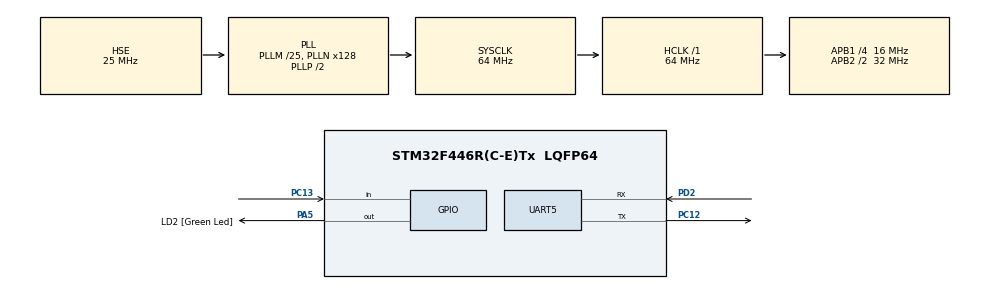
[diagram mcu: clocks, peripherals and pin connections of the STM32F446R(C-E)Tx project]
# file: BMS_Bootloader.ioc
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Mcu.Family=STM32F4
Mcu.Name=STM32F446R(C-E)Tx
Mcu.Package=LQFP64
NVIC.PriorityGroup=NVIC_PRIORITYGROUP_0
PA13.GPIO_Label=TMS
PA13.Signal=SYS_JTMS-SWDIO
PA14.GPIO_Label=TCK
PA14.Signal=SYS_JTCK-SWCLK
PA5.GPIO_Label=LD2 [Green Led]
PA5.Signal=GPIO_Output
PB3.GPIO_Label=SWO
PB3.Signal=SYS_JTDO-SWO
PC12.Mode=Asynchronous
PC12.Signal=UART5_TX
PC13.Signal=GPIO_Input
PC14-OSC32_IN.Signal=RCC_OSC32_IN
PC15-OSC32_OUT.Signal=RCC_OSC32_OUT
PD2.Mode=Asynchronous
PD2.Signal=UART5_RX
PH0-OSC_IN.Mode=HSE-External-Oscillator
PH0-OSC_IN.Signal=RCC_OSC_IN
PH1-OSC_OUT.Mode=HSE-External-Oscillator
PH1-OSC_OUT.Signal=RCC_OSC_OUT
ProjectManager.HeapSize=0x200
ProjectManager.StackSize=0x400
ProjectManager.TargetToolchain=STM32CubeIDE
RCC.AHBFreq_Value=64000000
RCC.APB1CLKDivider=RCC_HCLK_DIV4
RCC.APB1Freq_Value=16000000
RCC.APB1TimFreq_Value=32000000
RCC.APB2CLKDivider=RCC_HCLK_DIV2
RCC.APB2Freq_Value=32000000
RCC.APB2TimFreq_Value=64000000
RCC.CortexFreq_Value=64000000
RCC.FLatency-AdvancedSettings=FLASH_LATENCY_2
RCC.HCLKFreq_Value=64000000
RCC.HSE_VALUE=25000000
RCC.HSI_VALUE=16000000
RCC.LSE_VALUE=32768
RCC.PLLM=25
RCC.PLLN=128
RCC.PLLSourceVirtual=RCC_PLLSOURCE_HSE
RCC.SYSCLKFreq_VALUE=64000000
RCC.SYSCLKSource=RCC_SYSCLKSOURCE_PLLCLK
RCC.USBFreq_Value=64000000
RCC.VCOOutputFreq_Value=128000000
UART5.VirtualMode=Asynchronous
VP_CRC_VS_CRC.Mode=CRC_Activate
VP_RTC_VS_RTC_Activate.Mode=RTC_Enabled
VP_RTC_VS_RTC_Calendar.Mode=RTC_Calendar
board=NUCLEO-F446RE

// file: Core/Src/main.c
/* USER CODE BEGIN Header */
/**
  ******************************************************************************
  * @file           : main.c
  * @brief          : Main program body
  ******************************************************************************
  * @attention
  *
  * Copyright (c) 2024 STMicroelectronics.
  * All rights reserved.
  *
  * This software is licensed under terms that can be found in the LICENSE file
  * in the root directory of this software component.
  * If no LICENSE file comes with this software, it is provided AS-IS.
  *
  ******************************************************************************
  */
/* USER CODE END Header */
#include "main.h"

/* USER CODE BEGIN Includes */
#include <stdio.h>
#include <string.h>
#include "ota_update.h"
/* USER CODE END Includes */

/* USER CODE BEGIN PM */
#define MAX_BUF_SIZE 512
#define OTA_RESPONSE_PACKET_SIZE 12

/* USER CODE END PM */

CRC_HandleTypeDef hcrc;

RTC_HandleTypeDef hrtc;

UART_HandleTypeDef huart5;

void SystemClock_Config(void);
static void MX_GPIO_Init(void);
static void MX_UART5_Init(void);
static void MX_RTC_Init(void);
static void MX_CRC_Init(void);
/* USER CODE BEGIN PFP */
static void goto_application(void);
/* USER CODE END PFP */

int main(void)
{

  /* MCU Configuration--------------------------------------------------------*/

  /* Reset of all peripherals, Initializes the Flash interface and the Systick. */
  HAL_Init();

  /* Configure the system clock */
  SystemClock_Config();

  /* Initialize all configured peripherals */
  MX_GPIO_Init();
  MX_UART5_Init();
  MX_RTC_Init();
  MX_CRC_Init();
  /* USER CODE BEGIN 2 */
  uint32_t magic_value = *(__IO uint32_t*)OTA_CONFIG_SECTOR;
  if (magic_value == OTA_MAGIC_VALUE) {  // Check for magic value in config sector indicating an OTA update was requested
      // Clear the magic value to prevent repeated OTA updates
      HAL_FLASH_Unlock();
      __HAL_FLASH_CLEAR_FLAG(FLASH_FLAG_EOP | FLASH_FLAG_OPERR | FLASH_FLAG_WRPERR | FLASH_FLAG_PGAERR | FLASH_FLAG_PGPERR | FLASH_FLAG_PGSERR);
      FLASH_Erase_Sector(FLASH_SECTOR_2, VOLTAGE_RANGE_3);
      HAL_FLASH_Lock();

      // Initiate the OTA update process
      runOtaUpdate();

      // If OTA_Update() does not reset the system, you can add a reset here
      HAL_StatusTypeDef ret;

      // Unlock the Flash memory for write access
      ret = HAL_FLASH_Unlock();
      if (ret != HAL_OK) {
    	  char msg[] = "Error unlocking flash while attempting OTA update!";
    	  HAL_UART_Transmit(&huart5, (uint8_t*) msg, strlen(msg) + 1, HAL_MAX_DELAY);
    	  Error_Handler();
      }

      // Clear any existing flags
      __HAL_FLASH_CLEAR_FLAG(FLASH_FLAG_EOP | FLASH_FLAG_OPERR | FLASH_FLAG_WRPERR | FLASH_FLAG_PGAERR | FLASH_FLAG_PGPERR | FLASH_FLAG_PGSERR);

      // Erase the specific sector where the magic value is stored
      FLASH_Erase_Sector(FLASH_SECTOR_2, VOLTAGE_RANGE_3);
      if (ret != HAL_OK) {
    	  char msg[] = "Error erasing config sector while attempting OTA update!";
    	  HAL_UART_Transmit(&huart5, (uint8_t*) msg, strlen(msg) + 1, HAL_MAX_DELAY);
          HAL_FLASH_Lock();
          Error_Handler();
      }

      // write a different value to the address to explicitly clear it
      uint32_t clear_value = 0xFFFFFFFF;
      ret = HAL_FLASH_Program(TYPEPROGRAM_WORD, OTA_CONFIG_SECTOR, clear_value);
      if (ret != HAL_OK) {
    	  char msg[] = "Error writing to config sector while attempting OTA update!";
    	  HAL_UART_Transmit(&huart5, (uint8_t*) msg, strlen(msg) + 1, HAL_MAX_DELAY);
          HAL_FLASH_Lock();
    	  Error_Handler();
      }

      // Lock the Flash memory again
      ret = HAL_FLASH_Lock();
      if (ret != HAL_OK) {
    	  char msg[] = "Error locking flash while attempting OTA update!";
    	  HAL_UART_Transmit(&huart5, (uint8_t*) msg, strlen(msg) + 1, HAL_MAX_DELAY);
    	  Error_Handler();
      }

      HAL_NVIC_SystemReset();
  }

  // No OTA Magic Value found in config sector, jump to application
  goto_application();

  /* USER CODE END 2 */

  /* Infinite loop */
  while (1)
  {

  }
}

void SystemClock_Config(void)
{
  RCC_OscInitTypeDef RCC_OscInitStruct = {0};
  RCC_ClkInitTypeDef RCC_ClkInitStruct = {0};

  /** Configure the main internal regulator output voltage
  */
  __HAL_RCC_PWR_CLK_ENABLE();
  __HAL_PWR_VOLTAGESCALING_CONFIG(PWR_REGULATOR_VOLTAGE_SCALE3);

  /** Initializes the RCC Oscillators according to the specified parameters
  * in the RCC_OscInitTypeDef structure.
  */
  RCC_OscInitStruct.OscillatorType = RCC_OSCILLATORTYPE_LSI|RCC_OSCILLATORTYPE_HSE;
  RCC_OscInitStruct.HSEState = RCC_HSE_ON;
  RCC_OscInitStruct.LSEState = RCC_LSE_OFF;
  RCC_OscInitStruct.LSIState = RCC_LSI_ON;
  RCC_OscInitStruct.PLL.PLLState = RCC_PLL_ON;
  RCC_OscInitStruct.PLL.PLLSource = RCC_PLLSOURCE_HSE;
  RCC_OscInitStruct.PLL.PLLM = 25;
  RCC_OscInitStruct.PLL.PLLN = 128;
  RCC_OscInitStruct.PLL.PLLP = RCC_PLLP_DIV2;
  RCC_OscInitStruct.PLL.PLLQ = 2;
  RCC_OscInitStruct.PLL.PLLR = 2;
  if (HAL_RCC_OscConfig(&RCC_OscInitStruct) != HAL_OK)
  {
    Error_Handler();
  }

  /** Initializes the CPU, AHB and APB buses clocks
  */
  RCC_ClkInitStruct.ClockType = RCC_CLOCKTYPE_HCLK|RCC_CLOCKTYPE_SYSCLK
                              |RCC_CLOCKTYPE_PCLK1|RCC_CLOCKTYPE_PCLK2;
  RCC_ClkInitStruct.SYSCLKSource = RCC_SYSCLKSOURCE_PLLCLK;
  RCC_ClkInitStruct.AHBCLKDivider = RCC_SYSCLK_DIV1;
  RCC_ClkInitStruct.APB1CLKDivider = RCC_HCLK_DIV4;
  RCC_ClkInitStruct.APB2CLKDivider = RCC_HCLK_DIV2;

  if (HAL_RCC_ClockConfig(&RCC_ClkInitStruct, FLASH_LATENCY_2) != HAL_OK)
  {
    Error_Handler();
  }
}

static void MX_CRC_Init(void)
{

  hcrc.Instance = CRC;
  if (HAL_CRC_Init(&hcrc) != HAL_OK)
  {
    Error_Handler();
  }

}

static void MX_RTC_Init(void)
{

  RTC_TimeTypeDef sTime = {0};
  RTC_DateTypeDef sDate = {0};

  /** Initialize RTC Only
  */
  hrtc.Instance = RTC;
  hrtc.Init.HourFormat = RTC_HOURFORMAT_24;
  hrtc.Init.AsynchPrediv = 127;
  hrtc.Init.SynchPrediv = 255;
  hrtc.Init.OutPut = RTC_OUTPUT_DISABLE;
  hrtc.Init.OutPutPolarity = RTC_OUTPUT_POLARITY_HIGH;
  hrtc.Init.OutPutType = RTC_OUTPUT_TYPE_OPENDRAIN;
  if (HAL_RTC_Init(&hrtc) != HAL_OK)
  {
    Error_Handler();
  }

  /** Initialize RTC and set the Time and Date
  */
  sTime.Hours = 0x0;
  sTime.Minutes = 0x0;
  sTime.Seconds = 0x0;
  sTime.DayLightSaving = RTC_DAYLIGHTSAVING_NONE;
  sTime.StoreOperation = RTC_STOREOPERATION_RESET;
  if (HAL_RTC_SetTime(&hrtc, &sTime, RTC_FORMAT_BCD) != HAL_OK)
  {
    Error_Handler();
  }
  sDate.WeekDay = RTC_WEEKDAY_MONDAY;
  sDate.Month = RTC_MONTH_JANUARY;
  sDate.Date = 0x1;
  sDate.Year = 0x0;

  if (HAL_RTC_SetDate(&hrtc, &sDate, RTC_FORMAT_BCD) != HAL_OK)
  {
    Error_Handler();
  }

}

static void MX_UART5_Init(void)
{

  huart5.Instance = UART5;
  huart5.Init.BaudRate = 115200;
  huart5.Init.WordLength = UART_WORDLENGTH_8B;
  huart5.Init.StopBits = UART_STOPBITS_1;
  huart5.Init.Parity = UART_PARITY_NONE;
  huart5.Init.Mode = UART_MODE_TX_RX;
  huart5.Init.HwFlowCtl = UART_HWCONTROL_NONE;
  huart5.Init.OverSampling = UART_OVERSAMPLING_16;
  if (HAL_UART_Init(&huart5) != HAL_OK)
  {
    Error_Handler();
  }

}

static void MX_GPIO_Init(void)
{
  GPIO_InitTypeDef GPIO_InitStruct = {0};

  /* GPIO Ports Clock Enable */
  __HAL_RCC_GPIOC_CLK_ENABLE();
  __HAL_RCC_GPIOH_CLK_ENABLE();
  __HAL_RCC_GPIOA_CLK_ENABLE();
  __HAL_RCC_GPIOD_CLK_ENABLE();
  __HAL_RCC_GPIOB_CLK_ENABLE();

  /*Configure GPIO pin Output Level */
  HAL_GPIO_WritePin(LD2_GPIO_Port, LD2_Pin, GPIO_PIN_RESET);

  /*Configure GPIO pin : PC13 */
  GPIO_InitStruct.Pin = GPIO_PIN_13;
  GPIO_InitStruct.Mode = GPIO_MODE_INPUT;
  GPIO_InitStruct.Pull = GPIO_NOPULL;
  HAL_GPIO_Init(GPIOC, &GPIO_InitStruct);

  /*Configure GPIO pin : LD2_Pin */
  GPIO_InitStruct.Pin = LD2_Pin;
  GPIO_InitStruct.Mode = GPIO_MODE_OUTPUT_PP;
  GPIO_InitStruct.Pull = GPIO_NOPULL;
  GPIO_InitStruct.Speed = GPIO_SPEED_FREQ_LOW;
  HAL_GPIO_Init(LD2_GPIO_Port, &GPIO_InitStruct);

}

/* USER CODE BEGIN 4 */
static void goto_application(void)
{
	void (*app_reset_handler)(void) = (void*)(*((volatile uint32_t*) (APP_FLASH_ADDR + 4U)));

	HAL_RCC_DeInit();
	HAL_DeInit();
//	__set_MSP(*(volatile uint32_t*) APP_FLASH_ADDR);
	SysTick->CTRL = 0;
	SysTick->LOAD = 0;
	SysTick->VAL = 0;

	// Jump to App
	app_reset_handler();
}
/* USER CODE END 4 */

void Error_Handler(void)
{
  __disable_irq();
  while (1)
  {
  }
}
